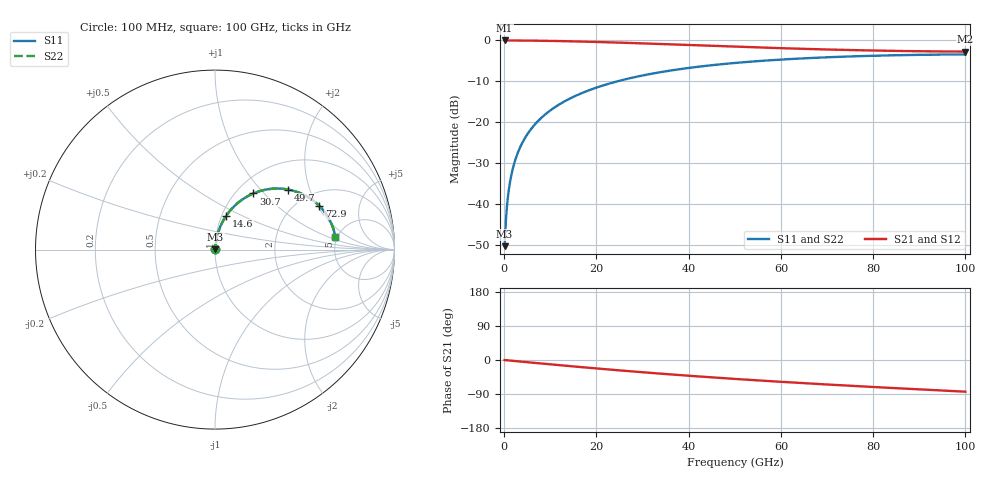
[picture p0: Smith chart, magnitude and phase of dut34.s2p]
! Touchstone file exported from HFSS 2026.1.0
!  File:  C:/ffzhzh/LocalFiles/Ansys_Project_Files/temp_train_RDL_34_1783498041_44152.aedt
!  Generated:  04:08:26 PM Jul  8, 2026
!  Design:  RDL
!  Project:  temp_train_RDL_34_1783498041_44152
! Variables:
!  h_bsmrdl = 2um
!  h_ox = 20um
!  h_rdl = 5um
!  h_sub = 80um
!  h_tmrdl = 2.84um
!  h_tsv = 80um
!  h_via = 3um
!  l_bsmrdl = 300um
!  l_sub = 658.59um
!  l_tmrdl = 258.59um
!  m_sub = 200um
!  pitch = 42.81um
!  r_tsv = 6um
!  s_tmrdl = 10um
!  w_bsmrdl = 18um
!  w_sub = 500um
!  w_tmrdl = 12.83um
!  x_tsv_center1 = 265.005um
!  x_tsv_center2 = 583.005um
!  x_tsv_center3 = 854.425um
!  x_tsv_center4 = 1172.425um
!  x_tsv_center5 = 1443.845um
!  x_tsv_center6 = 1761.845um
# GHz S MA R 50.000000
! Terminal data exported
! Port[1] = TM_RDL1_1_T1
! Port[2] = TM_RDL1_1_T2
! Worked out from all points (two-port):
!   1000 points, 100 MHz to 100 GHz, reference 50 ohm
!   highest |S21| = -0.02 dB at 100 MHz (marker M1); lowest = -2.7 dB at 100 GHz (marker M2)
!   |S21| within 3 dB of the highest: start of sweep to end of sweep
!   lowest |S11| = -50.2 dB at 100 MHz (marker M3), VSWR 1.01, Z = 50.3 + j0.151 ohm
!   |S11| at or under -10 dB: start of sweep to 24.54 GHz
!   |S22| runs from -50.2 to -3.4 dB; largest |S21 - S12| = 5.6e-15
!   S11 on the Smith chart (normalised r, x): 100 MHz: 1.01, +0.00; 14.6 GHz: 1.05, +0.41; 30.7 GHz: 1.20, +0.87; 49.7 GHz: 1.56, +1.45; 72.9 GHz: 2.57, +2.08; 100 GHz: 4.81, +1.22
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0.1  0.003076 29.1  0.9973 -0.1  0.9973 -0.1  0.003076 29.1
! Gamma 0 0 0 0
! Port Impedance 50 0 50 0
0.4  0.006576 64.2  0.9972 -0.5  0.9972 -0.5  0.006576 64.2
0.9  0.01346 75.9  0.9969 -1.1  0.9969 -1.1  0.01346 75.9
1.1  0.01625 77.7  0.9968 -1.3  0.9968 -1.3  0.01625 77.7
1.4  0.02045 79.5  0.9966 -1.6  0.9966 -1.6  0.02045 79.5
1.9  0.02748 81.0  0.9964 -2.2  0.9964 -2.2  0.02748 81.0
2.4  0.03452 81.7  0.9961 -2.8  0.9961 -2.8  0.03452 81.7
3.7  0.05284 81.8  0.995 -4.3  0.995 -4.3  0.05284 81.8
5.6  0.07942 80.6  0.9929 -6.5  0.9929 -6.5  0.07942 80.6
8  0.1125 78.4  0.989 -9.2  0.989 -9.2  0.1125 78.4
11  0.1527 75.4  0.9828 -12.6  0.9828 -12.6  0.1527 75.4
14.6  0.1993 71.6  0.9735 -16.5  0.9735 -16.5  0.1993 71.6
16.8  0.2266 69.3  0.967 -18.9  0.967 -18.9  0.2266 69.3
23.1  0.3004 63.0  0.9456 -25.5  0.9456 -25.5  0.3004 62.9
30.7  0.3793 55.7  0.9162 -33.0  0.9162 -33.0  0.3793 55.6
33.4  0.4046 53.2  0.9052 -35.6  0.9052 -35.6  0.4046 53.1
49.7  0.528 39.3  0.8394 -49.7  0.8394 -49.7  0.528 39.3
50.1  0.5304 39.0  0.8379 -50.0  0.8379 -50.0  0.5304 38.9
66.7  0.6101 26.8  0.7826 -62.3  0.7826 -62.3  0.6101 26.8
72.9  0.6305 22.7  0.7666 -66.6  0.7666 -66.6  0.6305 22.6
83.4  0.6556 16.0  0.7457 -73.4  0.7457 -73.4  0.6556 15.9
100  0.6741 5.9  0.7293 -83.6  0.7293 -83.6  0.6741 5.8
